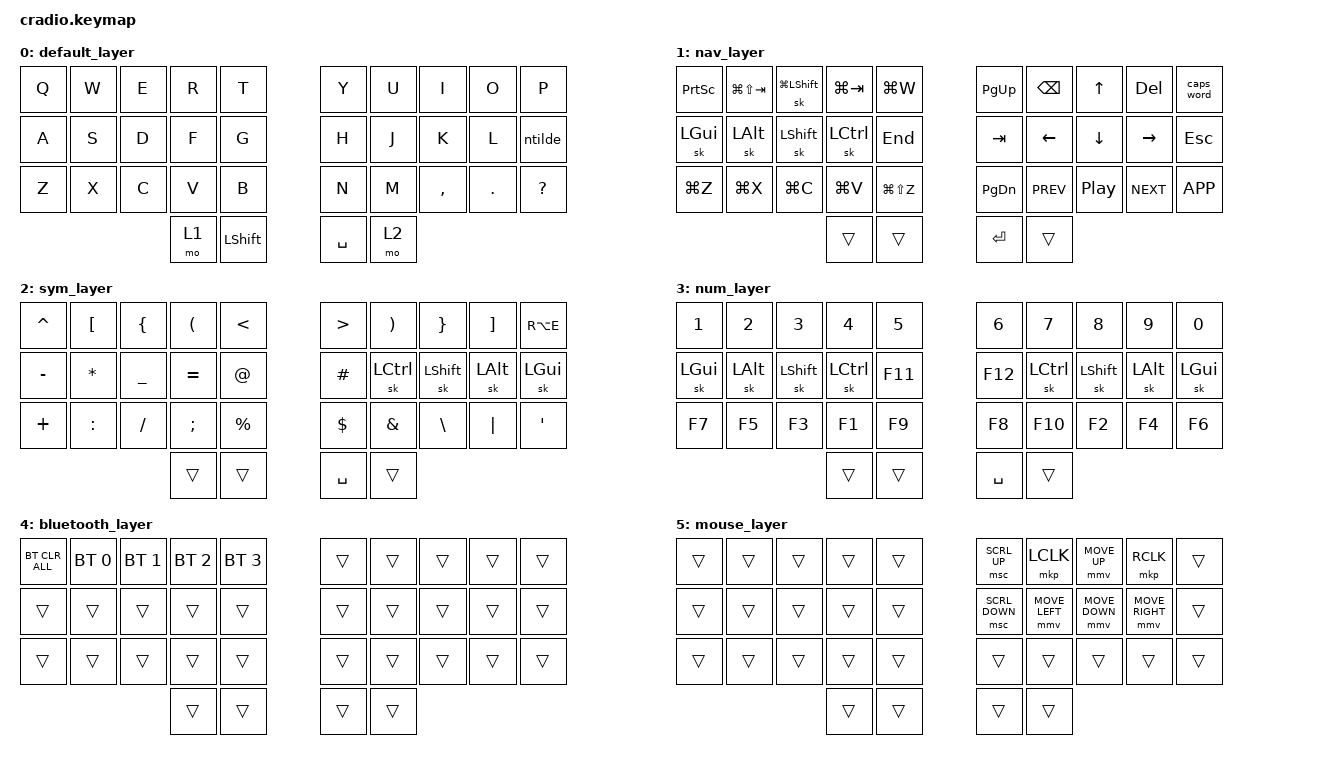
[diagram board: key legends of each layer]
#include <behaviors.dtsi>
#include <dt-bindings/zmk/bt.h>
#include <dt-bindings/zmk/keys.h>
#include <dt-bindings/zmk/pointing.h>

/ {
    conditional_layers {
        compatible = "zmk,conditional-layers";
        num_layer {
            if-layers = <1 2>;
            then-layer = <3>;
        };
    };

    macros {
        Luthiers: Luthiers {
            compatible = "zmk,behavior-macro";
            #binding-cells = <0>;
            bindings = <&kp LS(L) &kp U &kp T &kp H &kp I &kp E &kp R &kp S &kp N1 &kp DOT &kp STAR>;
            label = "LUTHIERS";
        };

        Luthiersvictor: Luthiersvictor {
            compatible = "zmk,behavior-macro";
            #binding-cells = <0>;
            bindings = <&kp LS(L) &kp U &kp T &kp H &kp I &kp E &kp R &kp S &kp N1 &kp DOT &kp STAR &kp V &kp I &kp C &kp T &kp O &kp R>;
            label = "LUTHIERSVICTOR";
        };

        ntilde: ntilde {
            compatible = "zmk,behavior-macro";
            #binding-cells = <0>;
            bindings = <&kp RA(N)>, <&macro_wait_time 20>, <&kp N>;
            label = "NTILDE";
            wait-ms = <20>;
            tap-ms = <20>;
        };
    };

    combos {
        compatible = "zmk,combos";

        esc_combo {
            bindings = <&kp ESC>;
            key-positions = <0 1>;
            timeout-ms = <50>;
        };

        enter_combo {
            bindings = <&kp ENTER>;
            key-positions = <20 21>;
            timeout-ms = <50>;
        };

        bluetooth {
            bindings = <&mo 4>;
            key-positions = <8 9>;
        };

        mouse {
            bindings = <&mo 5>;
            key-positions = <20 29>;
        };

        bspc_left {
            bindings = <&kp BSPC>;
            key-positions = <12 13>;
            timeout-ms = <50>;
        };

        bspc_right {
            bindings = <&kp BSPC>;
            key-positions = <16 17>;
            timeout-ms = <50>;
        };

        enter_right {
            bindings = <&kp ENTER>;
            key-positions = <28 29>;
            timeout-ms = <50>;
        };
    };

    keymap {
        compatible = "zmk,keymap";

        default_layer {
            bindings = <
&kp Q  &kp W  &kp E  &kp R    &kp T        &kp Y    &kp U  &kp I      &kp O    &kp P
&kp A  &kp S  &kp D  &kp F    &kp G        &kp H    &kp J  &kp K      &kp L    &ntilde
&kp Z  &kp X  &kp C  &kp V    &kp B        &kp N    &kp M  &kp COMMA  &kp DOT  &kp QMARK
                      &mo 1  &kp LSHFT      &kp SPC  &mo 2
            >;
        };

        nav_layer {
            bindings = <
&kp PSCRN  &kp LG(LS(TAB))  &sk LG(LSHFT)  &kp LG(TAB)  &kp LG(W)      &kp PG_UP  &kp BSPC   &kp UP     &kp DEL    &caps_word
&sk LGUI   &sk LALT         &sk LSHFT      &sk LCTRL    &kp END        &kp TAB    &kp LEFT   &kp DOWN   &kp RIGHT  &kp ESC
&kp LG(Z)  &kp LG(X)        &kp LG(C)      &kp LG(V)    &kp LG(LS(Z))  &kp PG_DN  &kp C_PREV &kp C_PP   &kp C_NEXT &kp K_APP
                                          &trans       &trans         &kp ENTER  &trans
            >;
        };

        sym_layer {
            bindings = <
&kp CARET  &kp LBKT   &kp LBRC   &kp LPAR   &kp LT        &kp GT    &kp RPAR   &kp RBRC   &kp RBKT  &kp RA(E)
&kp MINUS  &kp ASTRK  &kp UNDER  &kp EQUAL  &kp AT        &kp HASH  &sk LCTRL  &sk LSHFT  &sk LALT  &sk LGUI
&kp PLUS   &kp COLON  &kp FSLH   &kp SEMI   &kp PRCNT     &kp DLLR  &kp AMPS   &kp BSLH   &kp PIPE  &kp SQT
                                  &trans     &trans        &kp SPC   &trans
            >;
        };

        num_layer {
            bindings = <
&kp N1    &kp N2    &kp N3     &kp N4     &kp N5       &kp N6   &kp N7     &kp N8     &kp N9    &kp N0
&sk LGUI  &sk LALT  &sk LSHFT  &sk LCTRL  &kp F11      &kp F12  &sk LCTRL  &sk LSHFT  &sk LALT  &sk LGUI
&kp F7    &kp F5    &kp F3     &kp F1     &kp F9       &kp F8   &kp F10    &kp F2     &kp F4    &kp F6
                               &trans     &trans       &kp SPC  &trans
            >;
        };

        bluetooth_layer {
            bindings = <
&bt BT_CLR_ALL  &bt BT_SEL 0  &bt BT_SEL 1  &bt BT_SEL 2  &bt BT_SEL 3    &trans  &trans  &trans  &trans  &trans
&trans          &trans        &trans        &trans        &trans          &trans  &trans  &trans  &trans  &trans
&trans          &trans        &trans        &trans        &trans          &trans  &trans  &trans  &trans  &trans
                                            &trans        &trans          &trans  &trans
            >;
        };

        mouse_layer {
            bindings = <
&trans  &trans  &trans  &trans  &trans    &msc SCRL_UP    &mkp LCLK       &mmv MOVE_UP    &mkp RCLK        &trans
&trans  &trans  &trans  &trans  &trans    &msc SCRL_DOWN  &mmv MOVE_LEFT  &mmv MOVE_DOWN  &mmv MOVE_RIGHT  &trans
&trans  &trans  &trans  &trans  &trans    &trans          &trans          &trans          &trans           &trans
                        &trans  &trans    &trans          &trans
            >;
        };
    };
};
